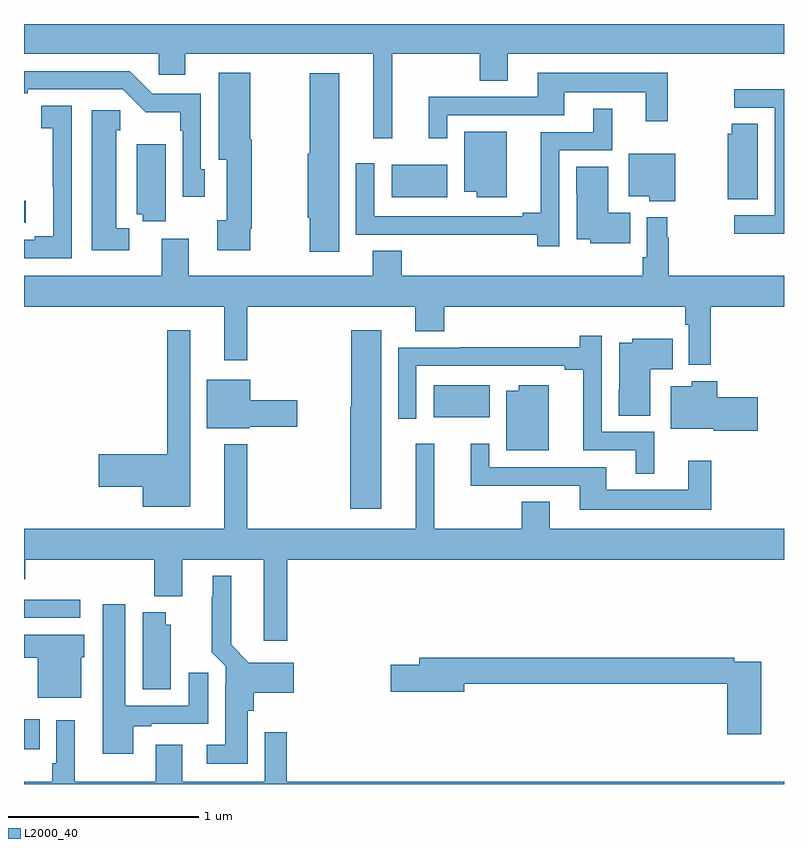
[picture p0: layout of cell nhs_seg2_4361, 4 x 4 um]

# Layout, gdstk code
import gdstk
lib = gdstk.Library(unit=1e-6, precision=1e-09)
def R(c, l, rs):  # rectangles x0, y0, x1, y1
    for r in rs: c.add(gdstk.rectangle(r[:2], r[2:], *l))
def P(c, l, *ps):  # polygons
    for p in ps: c.add(gdstk.Polygon(p, *l))
L2000_40 = (2000, 40)

nhs_seg2_4361 = lib.new_cell('nhs_seg2_4361')
R(nhs_seg2_4361, L2000_40, [(347,635.984,347.084,636.142), (347,636.675,347.296,636.771), (349.157,637.73,349.45,637.9), (347,638.755,347.008,638.87), (348.935,638.888,349.228,639.058)])
P(nhs_seg2_4361, L2000_40, [(348.938,639.644),(349.399,639.644),(349.399,639.502),(349.546,639.502),(349.546,639.644),(351,639.644),(351,639.8),(347,639.8),(347,639.644),(347.709,639.644),(347.709,639.534),(347.848,639.534),(347.848,639.644),(348.839,639.644),(348.839,639.198),(348.938,639.198)],
  [(347.952,639.036),(347.931,639.036),(347.931,639.432),(347.676,639.432),(347.556,639.552),(347,639.552),(347,639.436),(347.02,639.436),(347.02,639.456),(347.52,639.456),(347.641,639.335),(347.823,639.335),(347.823,639.239),(347.835,639.239),(347.835,638.892),(347.952,638.892)],
  [(349.227,639.321),(349.843,639.321),(349.843,639.44),(350.273,639.44),(350.273,639.288),(350.387,639.288),(350.387,639.544),(349.703,639.544),(349.703,639.417),(349.13,639.417),(349.13,639.198),(349.227,639.198)],
  [(348.19,638.722),(348.198,638.722),(348.198,639.19),(348.19,639.19),(348.19,639.544),(348.026,639.544),(348.026,639.086),(348.068,639.086),(348.068,638.766),(348.018,638.766),(348.018,638.61),(348.19,638.61)],
  [(348.658,639.541),(348.505,639.541),(348.505,639.117),(348.494,639.117),(348.494,638.781),(348.505,638.781),(348.505,638.601),(348.658,638.601)],
  [(351,639.456),(350.739,639.456),(350.739,639.36),(350.952,639.36),(350.952,638.793),(350.739,638.793),(350.739,638.695),(351,638.695)],
  [(347.25,639.371),(347.091,639.371),(347.091,639.251),(347.152,639.251),(347.152,638.947),(347.153,638.947),(347.153,638.684),(347.057,638.684),(347.057,638.664),(347,638.664),(347,638.568),(347.25,638.568)],
  [(349.818,639.135),(350.095,639.135),(350.095,639.355),(349.997,639.355),(349.997,639.231),(349.721,639.231),(349.721,638.807),(349.625,638.807),(349.625,638.787),(348.843,638.787),(348.843,639.067),(348.747,639.067),(348.747,638.691),(349.072,638.691),(349.072,638.69),(349.702,638.69),(349.702,638.631),(349.818,638.631)],
  [(347.554,638.724),(347.485,638.724),(347.485,639.24),(347.507,639.24),(347.507,639.346),(347.357,639.346),(347.357,638.609),(347.554,638.609)],
  [(350.863,639.275),(350.725,639.275),(350.725,639.222),(350.705,639.222),(350.705,638.878),(350.863,638.878)],
  [(349.54,639.232),(349.316,639.232),(349.316,638.918),(349.382,638.918),(349.382,638.888),(349.54,638.888)],
  [(347.746,639.166),(347.594,639.166),(347.594,638.798),(347.626,638.798),(347.626,638.761),(347.746,638.761)],
  [(350.428,639.118),(350.183,639.118),(350.183,638.894),(350.292,638.894),(350.292,638.867),(350.428,638.867)],
  [(350.192,638.806),(350.074,638.806),(350.074,639.05),(349.907,639.05),(349.907,638.91),(349.91,638.91),(349.91,638.666),(349.98,638.666),(349.98,638.645),(350.192,638.645)],
  [(350.615,638.312),(351,638.312),(351,638.476),(350.393,638.476),(350.393,638.675),(350.386,638.675),(350.386,638.782),(350.277,638.782),(350.277,638.572),(350.257,638.572),(350.257,638.476),(348.989,638.476),(348.989,638.606),(348.836,638.606),(348.836,638.476),(347.866,638.476),(347.866,638.671),(347.726,638.671),(347.726,638.476),(347,638.476),(347,638.312),(348.053,638.312),(348.053,638.031),(348.175,638.031),(348.175,638.312),(349.058,638.312),(349.058,638.182),(349.211,638.182),(349.211,638.312),(350.479,638.312),(350.479,638.216),(350.499,638.216),(350.499,638.006),(350.615,638.006)],
  [(348.88,638.188),(348.722,638.188),(348.722,637.785),(348.716,637.785),(348.716,637.248),(348.88,637.248)],
  [(347.875,638.188),(347.754,638.188),(347.754,637.535),(347.394,637.535),(347.394,637.364),(347.624,637.364),(347.624,637.259),(347.875,637.259)],
  [(350.317,637.653),(350.04,637.653),(350.04,638.158),(349.924,638.158),(349.924,638.099),(349.294,638.099),(349.294,638.097),(348.969,638.097),(348.969,637.722),(349.065,637.722),(349.065,638.001),(349.847,638.001),(349.847,637.981),(349.943,637.981),(349.943,637.557),(350.219,637.557),(350.219,637.433),(350.317,637.433)],
  [(350.296,637.982),(350.414,637.982),(350.414,638.143),(350.202,638.143),(350.202,638.122),(350.132,638.122),(350.132,637.878),(350.129,637.878),(350.129,637.738),(350.296,637.738)],
  [(348.186,637.679),(348.439,637.679),(348.439,637.821),(348.19,637.821),(348.19,637.927),(347.963,637.927),(347.963,637.673),(348.186,637.673)],
  [(350.863,637.836),(350.648,637.836),(350.648,637.921),(350.514,637.921),(350.514,637.894),(350.405,637.894),(350.405,637.67),(350.631,637.67),(350.631,637.658),(350.863,637.658)],
  [(349.762,637.9),(349.604,637.9),(349.604,637.87),(349.538,637.87),(349.538,637.556),(349.762,637.556)],
  [(350.617,637.501),(350.495,637.501),(350.495,637.348),(350.065,637.348),(350.065,637.467),(349.449,637.467),(349.449,637.591),(349.352,637.591),(349.352,637.371),(349.925,637.371),(349.925,637.244),(350.617,637.244)],
  [(348.386,636.98),(351,636.98),(351,637.144),(349.768,637.144),(349.768,637.286),(349.621,637.286),(349.621,637.144),(349.16,637.144),(349.16,637.591),(349.061,637.591),(349.061,637.144),(348.175,637.144),(348.175,637.588),(348.053,637.588),(348.053,637.144),(347,637.144),(347,636.878),(347.006,636.878),(347.006,636.98),(347.686,636.98),(347.686,636.788),(347.833,636.788),(347.833,636.98),(348.263,636.98),(348.263,636.555),(348.386,636.555)],
  [(348.178,636.186),(348.209,636.186),(348.209,636.281),(348.421,636.281),(348.421,636.439),(348.183,636.439),(348.091,636.532),(348.091,636.895),(347.993,636.895),(347.993,636.785),(347.989,636.785),(347.989,636.494),(348.063,636.42),(348.063,636.326),(348.059,636.326),(348.059,636.007),(347.961,636.007),(347.961,635.906),(348.178,635.906)],
  [(347.575,636.105),(347.671,636.105),(347.671,636.117),(347.971,636.117),(347.971,636.385),(347.867,636.385),(347.867,636.213),(347.533,636.213),(347.533,636.745),(347.414,636.745),(347.414,635.958),(347.575,635.958)],
  [(347.773,636.639),(347.746,636.639),(347.746,636.703),(347.624,636.703),(347.624,636.298),(347.773,636.298)],
  [(347.302,636.468),(347.317,636.468),(347.317,636.586),(347,636.586),(347,636.464),(347.072,636.464),(347.072,636.254),(347.302,636.254)],
  [(350.88,636.444),(350.738,636.444),(350.738,636.464),(349.079,636.464),(349.079,636.428),(348.93,636.428),(348.93,636.286),(349.318,636.286),(349.318,636.328),(350.702,636.328),(350.702,636.063),(350.88,636.063)],
  [(348.383,636.073),(348.267,636.073),(348.267,635.812),(347.833,635.812),(347.833,636.007),(347.693,636.007),(347.693,635.812),(347.266,635.812),(347.266,636.136),(347.169,636.136),(347.169,635.908),(347.149,635.908),(347.149,635.812),(347,635.812),(347,635.8),(351,635.8),(351,635.812),(348.383,635.812)])

lib.write_gds('nhs_seg2_4361.gds')
